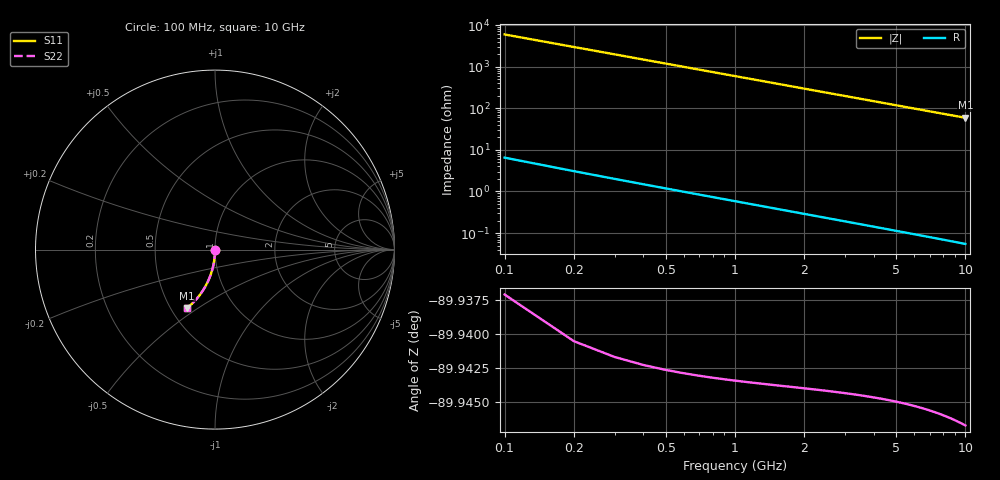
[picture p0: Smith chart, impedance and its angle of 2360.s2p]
# Hz S RI R 50.00
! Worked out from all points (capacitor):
!   100 points, 100 MHz to 10 GHz, reference 50 ohm
!   read as one part in shunt: C = 269 fF near 100 MHz
!   lowest |Z| = 59 ohm at 10 GHz (marker M1)
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1e8  0.000103 -0.00385  0.9999 -0.00459  0.9999 -0.00459  0.000103 -0.00385
2e8  4.64e-05 -0.0077  0.9998 -0.00918  0.9998 -0.00918  4.64e-05 -0.0077
3e8  -4.55e-05 -0.0115  0.9997 -0.0138  0.9997 -0.0138  -4.55e-05 -0.0115
4e8  -0.000173 -0.0154  0.9996 -0.0184  0.9996 -0.0184  -0.000173 -0.0154
5e8  -0.000336 -0.0192  0.9994 -0.023  0.9994 -0.023  -0.000336 -0.0192
6e8  -0.000534 -0.0231  0.9992 -0.0275  0.9992 -0.0275  -0.000534 -0.0231
7e8  -0.000767 -0.0269  0.999 -0.0321  0.999 -0.0321  -0.000767 -0.0269
8e8  -0.00104 -0.0308  0.9987 -0.0367  0.9987 -0.0367  -0.00104 -0.0308
9e8  -0.00134 -0.0346  0.9984 -0.0413  0.9984 -0.0413  -0.00134 -0.0346
1.1e9  -0.00205 -0.0423  0.9977 -0.0504  0.9977 -0.0504  -0.00205 -0.0423
1.4e9  -0.00339 -0.0537  0.9963 -0.0641  0.9963 -0.0641  -0.00339 -0.0537
1.8e9  -0.00565 -0.0689  0.994 -0.0823  0.994 -0.0823  -0.00565 -0.0689
2.1e9  -0.00772 -0.0803  0.9919 -0.0959  0.9919 -0.0959  -0.00772 -0.0803
2.5e9  -0.011 -0.0953  0.9886 -0.1139  0.9886 -0.1139  -0.011 -0.0953
2.9e9  -0.0147 -0.1102  0.9848 -0.1318  0.9848 -0.1318  -0.0147 -0.1102
3.4e9  -0.0202 -0.1285  0.9792 -0.1538  0.9792 -0.1538  -0.0202 -0.1285
4.2e9  -0.0306 -0.1571  0.9686 -0.1884  0.9686 -0.1884  -0.0306 -0.1571
5.1e9  -0.0446 -0.188  0.9544 -0.2262  0.9544 -0.2262  -0.0446 -0.188
5.9e9  -0.059 -0.2143  0.9397 -0.2585  0.9397 -0.2585  -0.059 -0.2143
6.7e9  -0.0751 -0.2391  0.9234 -0.2894  0.9234 -0.2894  -0.0751 -0.2391
8.4e9  -0.1139 -0.2869  0.8838 -0.3502  0.8838 -0.3502  -0.1139 -0.2869
1e10  -0.155 -0.325  0.8418 -0.4008  0.8418 -0.4008  -0.155 -0.325
